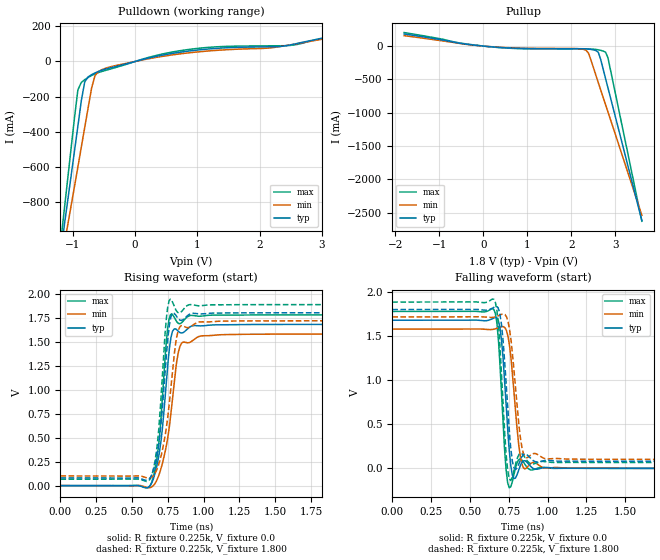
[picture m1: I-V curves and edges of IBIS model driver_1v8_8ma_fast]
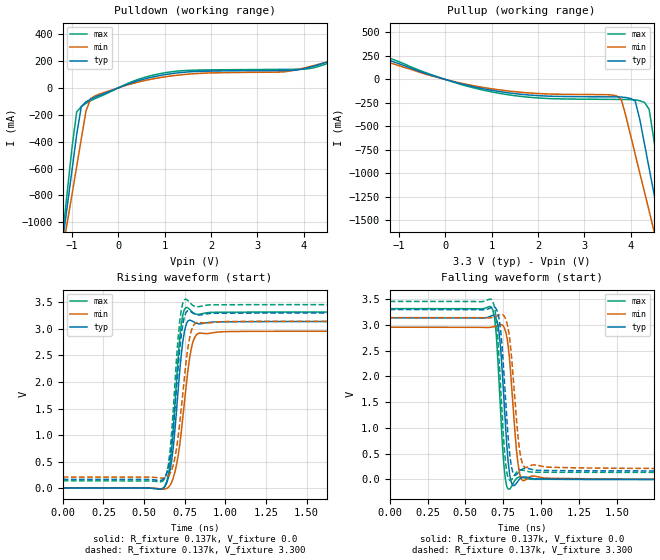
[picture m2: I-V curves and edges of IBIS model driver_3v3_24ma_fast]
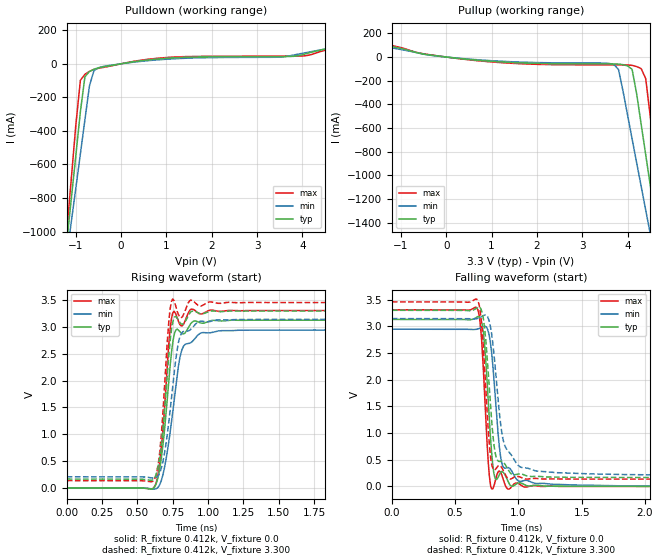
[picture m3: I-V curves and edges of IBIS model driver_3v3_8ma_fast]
| IBIS file created by T2B Version 15.0.2.01281
| Cadence Design Systems, Inc. 2011
| Simulator:  ****** HSPICE -- H-2013.03-SP2 32-BIT (Aug 26 2013) RHEL32 ******
[IBIS ver] 5.0
[File Rev] 1.0
[Date] Fri Oct 26 11:06:04 2018
[Source] Pre_simulation netlist
[Notes] Version 1.0 IBIS Model
[Copyright] Copyright ©2014-2018 Gowin Semiconductor Corporation.
|   Component GW1N-4_IOB
[Component] GW1N-4_IOB
[Manufacturer] GowinSemi Inc.
[Package]
| variable   typ   min   max
R_pkg   2.000m   1.000m   4.000m
L_pkg   0.200nH   0.100nH   0.400nH
C_pkg   2.000pF   1.000pF   4.000pF
[Pin]  signal_name   model_name   R_pin   L_pin   C_pin
6   clk_50M
92   rst_n
68   switches[0]
69   switches[1]
79   switches[2]
80   switches[3]
134   tm1637_clk   driver_3v3_24ma_fast
135   tm1637_dio   driver_3v3_24ma_fast
131   tm1637_clk_drain   driver_3v3_24ma_fast
132   tm1637_dio_drain   driver_3v3_24ma_fast
133   tm1637_vcc   driver_3v3_24ma_fast
47   led[0]   driver_1v8_8ma_fast
57   led[1]   driver_1v8_8ma_fast
60   led[2]   driver_1v8_8ma_fast
61   led[3]   driver_1v8_8ma_fast
136   debug_step_id[0]   driver_3v3_8ma_fast
137   debug_step_id[1]   driver_3v3_8ma_fast
138   debug_step_id[2]   driver_3v3_8ma_fast
139   debug_step_id[3]   driver_3v3_8ma_fast
140   debug_step_id[4]   driver_3v3_8ma_fast
141   debug_step_id[5]   driver_3v3_8ma_fast
142   debug_step_id[6]   driver_3v3_8ma_fast
| Models and submodels in the file (3): driver_1v8_8ma_fast (Output), driver_3v3_24ma_fast (Output), driver_3v3_8ma_fast (Output)
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|   Model driver_1v8_8ma_fast
[Model] driver_1v8_8ma_fast
Model_type Output
Polarity   Non-Inverting
C_comp   1.295pF   1.385pF   1.091pF
[Temperature Range]   25.000   0.125k   -40.000
[Voltage Range]   1.800V   1.710V   1.890V
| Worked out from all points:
|   slope of the pulldown table from 0 to 0.27 V, typ, clamps not added: 11.4 ohm
|   slope of the pullup table from 0 to 0.27 V, typ, clamps not added: 17.5 ohm
|   rising waveform, R_fixture 0.225k, V_fixture 0.0: 20-80 % time 65.3ps typ, 83.6ps min, 54.9ps max; typ from 0 V to 1.68 V
|   rising waveform, R_fixture 0.225k, V_fixture 1.800: 20-80 % time 60.3ps typ, 77.7ps min, 51ps max; typ from 0.08 V to 1.8 V
|   falling waveform, R_fixture 0.225k, V_fixture 0.0: 20-80 % time 38.5ps typ, 47.7ps min, 33.5ps max; typ from 1.68 V to 0 V
|   falling waveform, R_fixture 0.225k, V_fixture 1.800: 20-80 % time 40.2ps typ, 51.3ps min, 34.7ps max; typ from 1.8 V to 0.08 V
[Pulldown]
|Voltage   I(typ)   I(min)   I(max)
-1.8V     -2.658A    -2.385A    -2.966A
-1.195V   -1.084A    -1.16A     -1.028A
-1.14V    -941.3mA   -1.048A    -851.5mA
-1.085V   -798.6mA   -937.3mA   -675.4mA
-920mV    -369.3mA   -602.5mA   -162.2mA
-810mV    -116.5mA   -376.4mA   -103.9mA
-700mV    -75.2mA    -152.7mA   -80.17mA
-590mV    -56.95mA   -57.47mA   -63.35mA
70mV      6.695mA    5.299mA    8.108mA
1.06V     67.37mA    56.34mA    76.8mA
2.545V    98.19mA    98.02mA    93.83mA
3.6V      179.8mA    164.6mA    181.7mA
[Pullup]
|Voltage   I(typ)   I(min)   I(max)
-1.8V     182.1mA    156.6mA    203mA
-525mV    41.36mA    38.25mA    46.02mA
190mV     -11.32mA   -9.844mA   -12.93mA
905mV     -35.45mA   -31.95mA   -39.57mA
2.28V     -40.23mA   -50.02mA   -43.68mA
2.335V    -41.93mA   -64.07mA   -43.75mA
2.39V     -45.1mA    -109.1mA   -43.89mA
2.61V     -93.35mA   -547.8mA   -55.69mA
2.665V    -201.5mA   -658.9mA   -63.74mA
2.775V    -486.4mA   -879.2mA   -91.36mA
2.83V     -627.9mA   -989.2mA   -176.1mA
3.6V      -2.619A    -2.539A    -2.63A
[Ramp]
| variable   typ   min   max
dV/dt_r   0.772/99.581p   0.704/0.112n   0.842/91.704p
dV/dt_f   0.875/85.778p   0.792/96.813p   0.950/83.942p
R_load = 50.000
[Rising Waveform]
R_fixture= 0.225k
V_fixture= 0.0
|time   V(typ)   V(min)   V(max)
0s        0V         707.3nV    0V
626ps     -1.523mV   -20.48mV   -731.6uV
665ps     153.3mV    33.85mV    203.1mV
696ps     397.8mV    147.3mV    583.5mV
747ps     1.211V     477mV      1.615V
777ps     1.574V     825.6mV    1.789V
811ps     1.624V     1.283V     1.71V
835ps     1.594V     1.451V     1.686V
984ps     1.663V     1.559V     1.764V
5ns       1.679V     1.578V     1.778V
[Rising Waveform]
R_fixture= 0.225k
V_fixture= 1.800
|time   V(typ)   V(min)   V(max)
0s        80.25mV    100.8mV    66.41mV
625ps     79.06mV    79.49mV    65.24mV
656ps     197.6mV    118mV      220.1mV
688ps     453.4mV    229mV      611.9mV
738ps     1.323V     588mV      1.72V
768ps     1.733V     971.8mV    1.942V
801ps     1.783V     1.443V     1.846V
824ps     1.736V     1.62V      1.799V
974ps     1.787V     1.705V     1.872V
5ns       1.8V       1.716V     1.885V
[Falling Waveform]
R_fixture= 0.225k
V_fixture= 0.0
|time   V(typ)   V(min)   V(max)
0s        1.679V     1.578V     1.779V
654ps     1.705V     1.577V     1.801V
674ps     1.703V     1.588V     1.644V
702ps     1.48V      1.606V     895.7mV
732ps     749.7mV    1.572V     5.082mV
753ps     209.6mV    1.412V     -220.8mV
783ps     -114.1mV   877.6mV    -74.2mV
822ps     20.28mV    161.7mV    104.6mV
852ps     86.67mV    -5.369mV   51.15mV
5ns       62.7uV     96.46uV    42.64uV
[Falling Waveform]
R_fixture= 0.225k
V_fixture= 1.800
|time   V(typ)   V(min)   V(max)
0s        1.8V       1.717V     1.885V
654ps     1.825V     1.713V     1.916V
683ps     1.812V     1.73V      1.643V
702ps     1.651V     1.745V     1.119V
733ps     963.3mV    1.725V     163.3mV
762ps     242.4mV    1.487V     -137.6mV
784ps     7.043mV    1.105V     -24.03mV
823ps     85.87mV    373.4mV    167.4mV
863ps     161.7mV    119.9mV    99.13mV
5ns       80.32mV    101mV      66.46mV
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|   Model driver_3v3_24ma_fast
[Model] driver_3v3_24ma_fast
Model_type Output
Polarity   Non-Inverting
C_comp   1.827pF   2.504pF   0.978pF
C_comp_pulldown   40.195fF   NA   0.615pF
[Temperature Range]   25.000   0.125k   -40.000
[Voltage Range]   3.300V   3.135V   3.465V
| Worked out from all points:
|   slope of the pulldown table from 0 to 0.495 V, typ, clamps not added: 8.31 ohm
|   slope of the pullup table from 0 to 0.495 V, typ, clamps not added: 7.63 ohm
|   rising waveform, R_fixture 0.137k, V_fixture 0.0: 20-80 % time 54.5ps typ, 67.6ps min, 46.9ps max; typ from 0 V to 3.14 V
|   rising waveform, R_fixture 0.137k, V_fixture 3.300: 20-80 % time 52ps typ, 63.6ps min, 45.6ps max; typ from 0.165 V to 3.3 V
|   falling waveform, R_fixture 0.137k, V_fixture 0.0: 20-80 % time 40.5ps typ, 46ps min, 37.2ps max; typ from 3.14 V to 0 V
|   falling waveform, R_fixture 0.137k, V_fixture 3.300: 20-80 % time 43.1ps typ, 50.1ps min, 39.2ps max; typ from 3.3 V to 0.166 V
[Pulldown]
|Voltage   I(typ)   I(min)   I(max)
-3.3V     -6.587A    -5.447A    -7.808A
-1.2V     -1.131A    -1.197A    -1.084A
-1.1V     -870.8mA   -994mA     -763.1mA
-900mV    -347.2mA   -585.4mA   -178.9mA
-800mV    -139.4mA   -378.5mA   -139.9mA
-700mV    -104.2mA   -173.6mA   -115.4mA
-600mV    -84.35mA   -80.4mA    -95.86mA
-400mV    -54.66mA   -45.23mA   -65.09mA
1.1V      103.1mA    86.38mA    117.2mA
4.2V      159.4mA    163.8mA    147.9mA
6.3V      393.1mA    315.7mA    409.6mA
6.6V      375.6mA    331.9mA    443.8mA
[Pullup]
|Voltage   I(typ)   I(min)   I(max)
-3.3V     453.3mA    402.3mA    542.3mA
800mV     -97.24mA   -83.55mA   -111.9mA
3.7V      -186.1mA   -174.7mA   -212.7mA
3.8V      -187.4mA   -213.2mA   -213mA
4V        -203.1mA   -595.4mA   -213.9mA
4.1V      -229.9mA   -797.9mA   -217.3mA
4.4V      -944.2mA   -1.399A    -316.7mA
4.5V      -1.202A    -1.6A      -632.3mA
4.6V      -1.46A     -1.801A    -950mA
4.7V      -1.719A    -2.003A    -1.268A
4.8V      -1.978A    -2.205A    -1.587A
6.6V      -6.656A    -5.845A    -7.35A
[Ramp]
| variable   typ   min   max
dV/dt_r   1.721/94.204p   1.598/0.105n   1.841/88.475p
dV/dt_f   1.701/83.510p   1.557/89.241p   1.831/80.560p
R_load = 50.000
[Rising Waveform]
R_fixture= 0.137k
V_fixture= 0.0
|time   V(typ)   V(min)   V(max)
0s        0V         647.7nV    0V
627ps     24.96mV    -18.11mV   36.24mV
648ps     175.4mV    9.946mV    232.6mV
667ps     463.8mV    91.37mV    652.3mV
697ps     1.362V     400.4mV    1.924V
727ps     2.461V     1.015V     3.052V
757ps     3.066V     1.88V      3.404V
798ps     3.145V     2.732V     3.315V
842ps     3.096V     2.921V     3.278V
5ns       3.139V     2.957V     3.318V
[Rising Waveform]
R_fixture= 0.137k
V_fixture= 3.300
|time   V(typ)   V(min)   V(max)
0s        165.5mV    208.1mV    136.9mV
618ps     164.3mV    186.2mV    140.9mV
658ps     534.3mV    263.8mV    647.7mV
688ps     1.43V      547.7mV    1.898V
718ps     2.58V      1.192V     3.117V
737ps     3.067V     1.77V      3.479V
757ps     3.304V     2.354V     3.563V
789ps     3.323V     2.952V     3.472V
832ps     3.262V     3.125V     3.419V
5ns       3.3V       3.144V     3.458V
[Falling Waveform]
R_fixture= 0.137k
V_fixture= 0.0
|time   V(typ)   V(min)   V(max)
0s        3.139V     2.957V     3.318V
671ps     3.179V     2.957V     3.347V
696ps     3.161V     2.974V     3.059V
722ps     2.872V     3.003V     1.915V
754ps     1.578V     2.963V     287.2mV
784ps     307.1mV    2.555V     -188.8mV
802ps     -46.31mV   1.956V     -149.8mV
837ps     -73.81mV   585mV      16.42mV
877ps     41.85mV    -20.33mV   40.13mV
5ns       43.33uV    81.14uV    24.36uV
[Falling Waveform]
R_fixture= 0.137k
V_fixture= 3.300
|time   V(typ)   V(min)   V(max)
0s        3.3V       3.144V     3.458V
680ps     3.352V     3.146V     3.461V
707ps     3.289V     3.173V     3.015V
732ps     2.928V     3.204V     1.835V
765ps     1.578V     3.124V     331.1mV
795ps     439.3mV    2.673V     -22.31mV
821ps     95.52mV    1.788V     67.78mV
856ps     152.5mV    614.6mV    180.5mV
898ps     217.7mV    230.6mV    165.9mV
5ns       165.5mV    208.2mV    136.9mV
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|   Model driver_3v3_8ma_fast
[Model] driver_3v3_8ma_fast
Model_type Output
Polarity   Non-Inverting
C_comp   1.073pF   0.936pF   1.224pF
C_comp_pullup   0.206pF   0.144pF   0.291pF
C_comp_pulldown   0.828pF   0.751pF   0.897pF
[Temperature Range]   25.000   0.125k   -40.000
[Voltage Range]   3.300V   3.135V   3.465V
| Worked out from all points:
|   slope of the pulldown table from 0 to 0.495 V, typ, clamps not added: 24.9 ohm
|   slope of the pullup table from 0 to 0.495 V, typ, clamps not added: 24.3 ohm
|   rising waveform, R_fixture 0.412k, V_fixture 0.0: 20-80 % time 67.5ps typ, 89.5ps min, 54.1ps max; typ from 0 V to 3.13 V
|   rising waveform, R_fixture 0.412k, V_fixture 3.300: 20-80 % time 60.8ps typ, 79.3ps min, 50.3ps max; typ from 0.165 V to 3.3 V
|   falling waveform, R_fixture 0.412k, V_fixture 0.0: 20-80 % time 50.6ps typ, 62.8ps min, 44.1ps max; typ from 3.13 V to 0 V
|   falling waveform, R_fixture 0.412k, V_fixture 3.300: 20-80 % time 61.2ps typ, 84.9ps min, 51.8ps max; typ from 3.3 V to 0.165 V
[Pulldown]
|Voltage   I(typ)   I(min)   I(max)
-3.3V     -6.514A    -5.385A    -7.721A
-1.2V     -1.063A    -1.142A    -1.003A
-1.1V     -804.3mA   -941.2mA   -683.8mA
-900mV    -286.3mA   -537.5mA   -98.37mA
-800mV    -77.51mA   -333.5mA   -62.89mA
-700mV    -46.21mA   -131.9mA   -44.87mA
-600mV    -32.42mA   -40.15mA   -33.32mA
-500mV    -23.62mA   -24.09mA   -26.81mA
1.1V      34.39mA    28.82mA    39.1mA
4.1V      61.97mA    67.54mA    49.3mA
6.2V      179.9mA    119.9mA    187.8mA
6.6V      146.7mA    124.5mA    207.1mA
[Pullup]
|Voltage   I(typ)   I(min)   I(max)
-3.3V     167.6mA    144.2mA    217.7mA
-2.8V     193.9mA    165.5mA    214.9mA
500mV     -20.53mA   -17.58mA   -23.68mA
3.7V      -58.3mA    -63.73mA   -66.59mA
3.8V      -59.5mA    -104.8mA   -66.68mA
4.1V      -103.9mA   -692.6mA   -70.58mA
4.2V      -309.8mA   -892.8mA   -80.6mA
4.4V      -825.2mA   -1.293A    -181.3mA
4.5V      -1.083A    -1.494A    -498.7mA
4.6V      -1.341A    -1.695A    -816.2mA
4.8V      -1.858A    -2.099A    -1.453A
6.6V      -6.533A    -5.737A    -7.213A
[Ramp]
| variable   typ   min   max
dV/dt_r   1.248/97.781p   1.112/0.109n   1.384/88.763p
dV/dt_f   1.149/87.747p   1.003/93.329p   1.267/84.418p
R_load = 50.000
[Rising Waveform]
R_fixture= 0.412k
V_fixture= 0.0
|time   V(typ)   V(min)   V(max)
0s        0V         1.943uV    0V
617ps     2.701mV    -23.1mV    6.561mV
667ps     518.2mV    120.1mV    667.4mV
729ps     2.21V      988.2mV    2.906V
759ps     2.844V     1.619V     3.294V
791ps     2.939V     2.287V     3.099V
824ps     2.87V      2.634V     3.045V
877ps     3.064V     2.708V     3.331V
964ps     3.071V     2.897V     3.252V
5ns       3.129V     2.945V     3.309V
[Rising Waveform]
R_fixture= 0.412k
V_fixture= 3.300
|time   V(typ)   V(min)   V(max)
0s        165.2mV    207.9mV    136.6mV
617ps     170.6mV    183.3mV    145.9mV
657ps     565.5mV    275.4mV    644.9mV
679ps     1.061V     473.6mV    1.348V
720ps     2.405V     1.182V     3.045V
749ps     3.074V     1.879V     3.521V
800ps     3.085V     2.815V     3.186V
877ps     3.279V     2.956V     3.502V
943ps     3.248V     3.107V     3.391V
5ns       3.3V       3.144V     3.458V
[Falling Waveform]
R_fixture= 0.412k
V_fixture= 0.0
|time   V(typ)   V(min)   V(max)
0s        3.129V     2.946V     3.309V
671ps     3.172V     2.945V     3.347V
699ps     3.149V     2.967V     3.035V
723ps     2.887V     2.996V     2.201V
759ps     1.714V     2.925V     540.5mV
789ps     610.2mV    2.495V     -45.96mV
816ps     150.3mV    1.719V     94.01mV
868ps     279.3mV    444.1mV    217.8mV
1.011ns   68.88mV    93.16mV    39.02mV
5ns       133.6uV    251.4uV    75.06uV
[Falling Waveform]
R_fixture= 0.412k
V_fixture= 3.300
|time   V(typ)   V(min)   V(max)
0s        3.3V       3.145V     3.458V
680ps     3.358V     3.147V     3.48V
709ps     3.29V      3.18V      3.052V
733ps     2.967V     3.211V     2.22V
785ps     1.332V     2.913V     466.6mV
816ps     631.2mV    2.255V     316.1mV
868ps     469mV      1.016V     354mV
930ps     273mV      632.2mV    135.5mV
1.402ns   170.4mV    247.1mV    138.9mV
5ns       165.4mV    208.2mV    136.7mV
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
